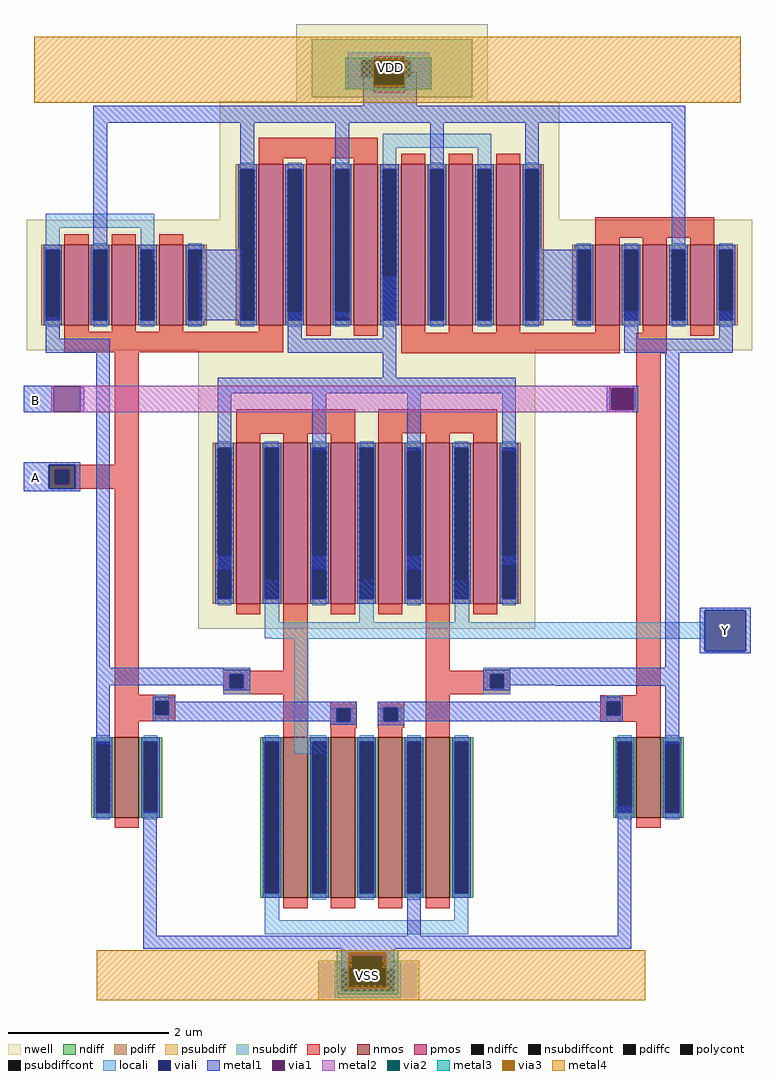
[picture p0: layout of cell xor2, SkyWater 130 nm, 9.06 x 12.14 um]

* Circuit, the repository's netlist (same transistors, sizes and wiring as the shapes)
** sch_path: /home/ume/Desktop/designFinal/xschem/xor2.sch
.subckt xor2 Y A VDD VSS B
*.PININFO Y:O A:I VDD:B VSS:B B:I
XM7 net1 A VDD VDD sky130_fd_pr__pfet_01v8 L=0.30 W=6 nf=6 ad='int((nf+1)/2) * W/nf * 0.29' as='int((nf+2)/2) * W/nf * 0.29'
+ pd='2*int((nf+1)/2) * (W/nf + 0.29)' ps='2*int((nf+2)/2) * (W/nf + 0.29)' nrd='0.29 / W' nrs='0.29 / W'
+ sa=0 sb=0 sd=0 mult=1 m=1
XM8 net1 B VDD VDD sky130_fd_pr__pfet_01v8 L=0.30 W=6 nf=6 ad='int((nf+1)/2) * W/nf * 0.29' as='int((nf+2)/2) * W/nf * 0.29'
+ pd='2*int((nf+1)/2) * (W/nf + 0.29)' ps='2*int((nf+2)/2) * (W/nf + 0.29)' nrd='0.29 / W' nrs='0.29 / W'
+ sa=0 sb=0 sd=0 mult=1 m=1
XM6 Y inv_B net1 VDD sky130_fd_pr__pfet_01v8 L=0.30 W=6 nf=6 ad='int((nf+1)/2) * W/nf * 0.29' as='int((nf+2)/2) * W/nf * 0.29'
+ pd='2*int((nf+1)/2) * (W/nf + 0.29)' ps='2*int((nf+2)/2) * (W/nf + 0.29)' nrd='0.29 / W' nrs='0.29 / W'
+ sa=0 sb=0 sd=0 mult=1 m=1
XM5 Y inv_A net1 VDD sky130_fd_pr__pfet_01v8 L=0.30 W=6 nf=6 ad='int((nf+1)/2) * W/nf * 0.29' as='int((nf+2)/2) * W/nf * 0.29'
+ pd='2*int((nf+1)/2) * (W/nf + 0.29)' ps='2*int((nf+2)/2) * (W/nf + 0.29)' nrd='0.29 / W' nrs='0.29 / W'
+ sa=0 sb=0 sd=0 mult=1 m=1
XM1 Y A net2 VSS sky130_fd_pr__nfet_01v8 L=0.30 W=2 nf=2 ad='int((nf+1)/2) * W/nf * 0.29' as='int((nf+2)/2) * W/nf * 0.29'
+ pd='2*int((nf+1)/2) * (W/nf + 0.29)' ps='2*int((nf+2)/2) * (W/nf + 0.29)' nrd='0.29 / W' nrs='0.29 / W'
+ sa=0 sb=0 sd=0 mult=1 m=1
XM3 net2 B VSS VSS sky130_fd_pr__nfet_01v8 L=0.30 W=2 nf=2 ad='int((nf+1)/2) * W/nf * 0.29' as='int((nf+2)/2) * W/nf * 0.29'
+ pd='2*int((nf+1)/2) * (W/nf + 0.29)' ps='2*int((nf+2)/2) * (W/nf + 0.29)' nrd='0.29 / W' nrs='0.29 / W'
+ sa=0 sb=0 sd=0 mult=1 m=1
XM2 Y inv_A net3 VSS sky130_fd_pr__nfet_01v8 L=0.30 W=2 nf=2 ad='int((nf+1)/2) * W/nf * 0.29' as='int((nf+2)/2) * W/nf * 0.29'
+ pd='2*int((nf+1)/2) * (W/nf + 0.29)' ps='2*int((nf+2)/2) * (W/nf + 0.29)' nrd='0.29 / W' nrs='0.29 / W'
+ sa=0 sb=0 sd=0 mult=1 m=1
XM4 net3 inv_B VSS VSS sky130_fd_pr__nfet_01v8 L=0.30 W=2 nf=2 ad='int((nf+1)/2) * W/nf * 0.29' as='int((nf+2)/2) * W/nf * 0.29'
+ pd='2*int((nf+1)/2) * (W/nf + 0.29)' ps='2*int((nf+2)/2) * (W/nf + 0.29)' nrd='0.29 / W' nrs='0.29 / W'
+ sa=0 sb=0 sd=0 mult=1 m=1
XM12 inv_B B VDD VDD sky130_fd_pr__pfet_01v8 L=0.30 W=3 nf=3 ad='int((nf+1)/2) * W/nf * 0.29' as='int((nf+2)/2) * W/nf * 0.29'
+ pd='2*int((nf+1)/2) * (W/nf + 0.29)' ps='2*int((nf+2)/2) * (W/nf + 0.29)' nrd='0.29 / W' nrs='0.29 / W'
+ sa=0 sb=0 sd=0 mult=1 m=1
XM11 inv_B B VSS VSS sky130_fd_pr__nfet_01v8 L=0.30 W=1 nf=1 ad='int((nf+1)/2) * W/nf * 0.29' as='int((nf+2)/2) * W/nf * 0.29'
+ pd='2*int((nf+1)/2) * (W/nf + 0.29)' ps='2*int((nf+2)/2) * (W/nf + 0.29)' nrd='0.29 / W' nrs='0.29 / W'
+ sa=0 sb=0 sd=0 mult=1 m=1
XM10 inv_A A VDD VDD sky130_fd_pr__pfet_01v8 L=0.30 W=3 nf=3 ad='int((nf+1)/2) * W/nf * 0.29' as='int((nf+2)/2) * W/nf * 0.29'
+ pd='2*int((nf+1)/2) * (W/nf + 0.29)' ps='2*int((nf+2)/2) * (W/nf + 0.29)' nrd='0.29 / W' nrs='0.29 / W'
+ sa=0 sb=0 sd=0 mult=1 m=1
XM9 inv_A A VSS VSS sky130_fd_pr__nfet_01v8 L=0.30 W=1 nf=1 ad='int((nf+1)/2) * W/nf * 0.29' as='int((nf+2)/2) * W/nf * 0.29'
+ pd='2*int((nf+1)/2) * (W/nf + 0.29)' ps='2*int((nf+2)/2) * (W/nf + 0.29)' nrd='0.29 / W' nrs='0.29 / W'
+ sa=0 sb=0 sd=0 mult=1 m=1
.ends
.end

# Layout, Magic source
magic
tech sky130B
magscale 1 2
<< nwell >>
rect 546 772 1022 964
rect 356 476 1200 772
rect -31 181 265 198
rect -77 153 265 181
rect 807 173 1096 196
rect 302 -60 1140 173
<< psubdiff >>
rect 600 -1386 852 -1366
rect 600 -1442 658 -1386
rect 790 -1442 852 -1386
rect 600 -1464 852 -1442
<< nsubdiff >>
rect 584 874 984 926
rect 584 830 708 874
rect 830 830 984 874
rect 584 782 984 830
<< psubdiffcont >>
rect 658 -1442 790 -1386
<< nsubdiffcont >>
rect 708 830 830 874
<< poly >>
rect 453 630 749 681
rect 1290 432 1586 483
rect -31 147 513 198
rect 1408 196 1467 214
rect 94 -132 154 147
rect 807 145 1350 196
rect 1392 145 1467 196
rect 1392 58 1452 145
rect 1324 48 1452 58
rect 1324 14 1340 48
rect 1374 14 1452 48
rect 396 -55 692 5
rect 750 -54 1046 6
rect 1324 4 1452 14
rect 750 -55 810 -54
rect 868 -55 928 -54
rect 986 -55 1046 -54
rect -70 -146 154 -132
rect -70 -180 -54 -146
rect -20 -180 154 -146
rect -70 -192 154 -180
rect 94 -705 154 -192
rect 364 -645 431 -638
rect 514 -645 574 -497
rect 364 -654 574 -645
rect 364 -688 380 -654
rect 414 -688 574 -654
rect 364 -704 574 -688
rect 94 -721 245 -705
rect 94 -755 195 -721
rect 229 -755 245 -721
rect 94 -771 245 -755
rect 94 -800 154 -771
rect 514 -801 574 -704
rect 868 -645 928 -497
rect 1011 -645 1078 -638
rect 868 -654 1078 -645
rect 868 -688 1028 -654
rect 1062 -688 1078 -654
rect 868 -704 1078 -688
rect 630 -738 696 -722
rect 630 -772 646 -738
rect 680 -772 696 -738
rect 630 -788 696 -772
rect 748 -737 814 -722
rect 748 -771 764 -737
rect 798 -771 814 -737
rect 748 -787 814 -771
rect 632 -800 692 -788
rect 750 -799 810 -787
rect 868 -801 928 -704
rect 1392 -706 1452 4
rect 1302 -722 1452 -706
rect 1302 -756 1318 -722
rect 1352 -756 1452 -722
rect 1302 -772 1452 -756
rect 1392 -800 1452 -772
<< polycont >>
rect 1340 14 1374 48
rect -54 -180 -20 -146
rect 380 -688 414 -654
rect 195 -755 229 -721
rect 1028 -688 1062 -654
rect 646 -772 680 -738
rect 764 -771 798 -737
rect 1318 -756 1352 -722
<< locali >>
rect 674 874 876 894
rect 674 830 708 874
rect 830 830 876 874
rect 674 820 760 830
rect 798 820 876 830
rect 674 802 876 820
rect 761 656 1031 691
rect 761 613 795 656
rect 997 613 1031 656
rect -77 457 193 492
rect -77 415 -43 457
rect 159 415 193 457
rect 1324 14 1330 48
rect 1384 14 1390 48
rect 467 -524 503 -419
rect 702 -524 738 -419
rect 940 -524 976 -420
rect 467 -564 1562 -524
rect 486 -565 1562 -564
rect 364 -654 431 -638
rect 364 -688 380 -654
rect 414 -688 431 -654
rect 364 -704 431 -688
rect 195 -721 229 -705
rect 195 -771 229 -755
rect 541 -806 575 -565
rect 1011 -654 1078 -638
rect 1011 -688 1028 -654
rect 1062 -688 1078 -654
rect 1011 -704 1078 -688
rect 1318 -722 1352 -706
rect 630 -772 646 -738
rect 680 -772 696 -738
rect 748 -771 764 -737
rect 798 -771 814 -737
rect 1318 -772 1352 -756
rect 541 -809 613 -806
rect 541 -852 620 -809
rect 468 -1265 503 -1198
rect 939 -1265 974 -1198
rect 468 -1300 974 -1265
rect 642 -1386 698 -1370
rect 748 -1386 806 -1370
rect 642 -1442 658 -1386
rect 790 -1442 806 -1386
rect 642 -1458 806 -1442
<< viali >>
rect 760 830 798 858
rect 760 820 798 830
rect 1330 48 1384 58
rect 1330 14 1340 48
rect 1340 14 1374 48
rect 1374 14 1384 48
rect 1330 4 1384 14
rect -70 -146 -4 -132
rect -70 -180 -54 -146
rect -54 -180 -20 -146
rect -20 -180 -4 -146
rect -70 -192 -4 -180
rect 380 -688 414 -654
rect 195 -755 229 -721
rect 1562 -596 1664 -494
rect 1028 -688 1062 -654
rect 646 -772 680 -738
rect 764 -771 798 -737
rect 1318 -756 1352 -722
rect 698 -1386 748 -1364
rect 698 -1406 748 -1386
<< metal1 >>
rect 740 844 750 866
rect 712 812 750 844
rect 804 844 814 866
rect 804 812 846 844
rect 712 761 846 812
rect 41 718 1514 761
rect 41 415 75 718
rect 407 613 441 718
rect 643 613 677 718
rect 879 613 913 718
rect 1115 613 1149 718
rect 1480 415 1514 718
rect 186 378 193 403
rect 311 378 410 403
rect -77 181 -43 235
rect 304 227 410 378
rect 761 247 795 337
rect 525 235 565 247
rect 637 235 683 247
rect 755 235 795 247
rect 525 181 559 235
rect 761 181 795 235
rect 1143 227 1247 403
rect -77 146 82 181
rect 525 146 795 181
rect 1362 181 1396 249
rect 1598 181 1632 249
rect 1362 146 1632 181
rect -132 -2 -58 64
rect 8 -2 18 64
rect -132 -132 8 -126
rect -132 -192 -70 -132
rect -4 -192 8 -132
rect -132 -198 8 -192
rect 48 -638 82 146
rect 761 84 795 146
rect 350 46 1092 84
rect 350 -92 384 46
rect 586 -96 620 46
rect 822 -98 856 46
rect 1058 -98 1092 46
rect 1318 58 1396 64
rect 1318 4 1330 58
rect 1384 4 1396 58
rect 1318 -2 1396 4
rect 350 -393 385 -359
rect 585 -393 620 -359
rect 822 -393 857 -359
rect 1058 -381 1092 -359
rect 1464 -637 1498 146
rect 1550 -494 1676 -488
rect 1550 -596 1562 -494
rect 1664 -596 1676 -494
rect 1550 -602 1676 -596
rect 1191 -638 1498 -637
rect 48 -643 364 -638
rect 1078 -643 1498 -638
rect 48 -654 431 -643
rect 48 -681 380 -654
rect 48 -828 82 -681
rect 364 -688 380 -681
rect 414 -688 431 -654
rect 364 -694 431 -688
rect 1011 -654 1498 -643
rect 1011 -688 1028 -654
rect 1062 -681 1498 -654
rect 1062 -688 1078 -681
rect 1191 -682 1498 -681
rect 1011 -694 1078 -688
rect 189 -721 245 -709
rect 189 -755 195 -721
rect 229 -722 245 -721
rect 1302 -722 1358 -710
rect 229 -738 696 -722
rect 229 -755 646 -738
rect 189 -771 646 -755
rect 630 -772 646 -771
rect 680 -772 696 -738
rect 630 -779 696 -772
rect 748 -737 1318 -722
rect 748 -771 764 -737
rect 798 -756 1318 -737
rect 1352 -756 1358 -722
rect 798 -771 1358 -756
rect 748 -781 815 -771
rect 1302 -772 1358 -771
rect 1464 -828 1498 -682
rect 165 -1304 199 -995
rect 822 -1304 856 -1198
rect 1346 -1304 1379 -982
rect 165 -1336 1379 -1304
rect 658 -1358 790 -1336
rect 658 -1416 692 -1358
rect 754 -1416 790 -1358
rect 658 -1421 790 -1416
<< via1 >>
rect 750 858 804 866
rect 750 820 760 858
rect 760 820 798 858
rect 798 820 804 858
rect 750 812 804 820
rect -58 -2 8 64
rect 1330 4 1384 58
rect 692 -1364 754 -1358
rect 692 -1406 698 -1364
rect 698 -1406 748 -1364
rect 748 -1406 754 -1364
rect 692 -1416 754 -1406
<< metal2 >>
rect 738 874 816 884
rect 738 794 816 804
rect -64 -2 -58 64
rect 8 58 1384 64
rect 8 4 1330 58
rect 8 -2 1384 4
rect 686 -1356 758 -1346
rect 686 -1436 758 -1426
<< via2 >>
rect 738 866 816 874
rect 738 812 750 866
rect 750 812 804 866
rect 804 812 816 866
rect 738 804 816 812
rect 686 -1358 758 -1356
rect 686 -1416 692 -1358
rect 692 -1416 754 -1358
rect 754 -1416 758 -1358
rect 686 -1426 758 -1416
<< metal3 >>
rect 668 876 882 880
rect 668 804 738 876
rect 814 874 882 876
rect 816 804 882 874
rect 668 802 882 804
rect 728 799 826 802
rect 648 -1342 800 -1340
rect 646 -1346 800 -1342
rect 646 -1434 676 -1346
rect 770 -1434 800 -1346
rect 646 -1440 800 -1434
rect 648 -1450 800 -1440
<< via3 >>
rect 738 874 814 876
rect 738 810 814 874
rect 676 -1356 770 -1346
rect 676 -1426 686 -1356
rect 686 -1426 758 -1356
rect 758 -1426 770 -1356
rect 676 -1434 770 -1426
<< metal4 >>
rect -106 876 1652 932
rect -106 810 738 876
rect 814 810 1652 876
rect -106 768 1652 810
rect 50 -1346 1414 -1340
rect 50 -1434 676 -1346
rect 770 -1434 1414 -1346
rect 50 -1464 1414 -1434
use sky130_fd_pr__nfet_01v8_ALVBQN  sky130_fd_pr__nfet_01v8_ALVBQN_0
transform 1 0 721 0 1 -1010
box -265 -226 265 226
use sky130_fd_pr__nfet_01v8_ZGVMSF  sky130_fd_pr__nfet_01v8_ZGVMSF_0
transform 1 0 1422 0 1 -910
box -88 -126 88 126
use sky130_fd_pr__nfet_01v8_ZGVMSF  sky130_fd_pr__nfet_01v8_ZGVMSF_1
transform 1 0 124 0 1 -910
box -88 -126 88 126
use sky130_fd_pr__pfet_01v8_6C4S85  sky130_fd_pr__pfet_01v8_6C4S85_0
transform 1 0 721 0 1 -278
box -419 -262 419 262
use sky130_fd_pr__pfet_01v8_6C4S85  sky130_fd_pr__pfet_01v8_6C4S85_1
transform 1 0 778 0 1 415
box -419 -262 419 262
use sky130_fd_pr__pfet_01v8_A6QCZ3  sky130_fd_pr__pfet_01v8_A6QCZ3_0
transform 1 0 1438 0 1 315
box -242 -162 242 162
use sky130_fd_pr__pfet_01v8_A6QCZ3  sky130_fd_pr__pfet_01v8_A6QCZ3_1
transform 1 0 117 0 1 315
box -242 -162 242 162
<< labels >>
flabel metal4 672 -1440 772 -1366 1 FreeSerif 640 0 0 0 VSS
port 11 n
flabel metal4 700 798 860 916 1 FreeSerif 640 0 0 0 VDD
port 14 n
flabel metal1 1554 -600 1674 -492 1 FreeSerif 400 0 0 0 Y
port 15 n
flabel metal1 -132 -198 -72 -132 1 FreeSerif 480 0 0 0 A
port 16 n
flabel metal1 -132 -2 -72 56 1 FreeSerif 480 0 0 0 B
port 17 n
<< end >>

# cell sky130_fd_pr__nfet_01v8_ALVBQN: kit device sky130_fd_pr__nfet_01v8, w 2 l 0.3 m 1 nf 4 diffcov 100 polycov 100 guard 0 glc 1 grc 1 gtc 1 gbc 1 tbcov 100 rlcov 100 topc 0 botc 0 poverlap 0 doverlap 1 lmin 0.15 wmin 0.42 compatible {sky130_fd_pr__nfet_01v8 sky130_fd_pr__nfet_01v8_lvt sky130_fd_bs_flash__special_sonosfet_star sky130_fd_pr__nfet_g5v0d10v5 sky130_fd_pr__nfet_05v0_nvt sky130_fd_pr__nfet_03v3_nvt} full_metal 1 viasrc 100 viadrn 100 viagate 100 viagb 0 viagr 0 viagl 0 viagt 0

# cell sky130_fd_pr__nfet_01v8_ZGVMSF: kit device sky130_fd_pr__nfet_01v8, w 1 l 0.3 m 1 nf 1 diffcov 100 polycov 100 guard 0 glc 1 grc 1 gtc 1 gbc 1 tbcov 100 rlcov 100 topc 0 botc 0 poverlap 0 doverlap 1 lmin 0.15 wmin 0.42 compatible {sky130_fd_pr__nfet_01v8 sky130_fd_pr__nfet_01v8_lvt sky130_fd_bs_flash__special_sonosfet_star sky130_fd_pr__nfet_g5v0d10v5 sky130_fd_pr__nfet_05v0_nvt sky130_fd_pr__nfet_03v3_nvt} full_metal 1 viasrc 100 viadrn 100 viagate 100 viagb 0 viagr 0 viagl 0 viagt 0

# cell sky130_fd_pr__pfet_01v8_6C4S85: kit device sky130_fd_pr__pfet_01v8, w 2 l 0.3 m 1 nf 6 diffcov 100 polycov 100 guard 0 glc 1 grc 1 gtc 1 gbc 1 tbcov 100 rlcov 100 topc 0 botc 0 poverlap 0 doverlap 1 lmin 0.15 wmin 0.42 compatible {sky130_fd_pr__pfet_01v8 sky130_fd_pr__pfet_01v8_lvt sky130_fd_pr__pfet_01v8_hvt sky130_fd_pr__pfet_g5v0d10v5} full_metal 1 viasrc 100 viadrn 100 viagate 100 viagb 0 viagr 0 viagl 0 viagt 0

# cell sky130_fd_pr__pfet_01v8_A6QCZ3: kit device sky130_fd_pr__pfet_01v8, w 1 l 0.3 m 1 nf 3 diffcov 100 polycov 100 guard 0 glc 1 grc 1 gtc 1 gbc 1 tbcov 100 rlcov 100 topc 0 botc 0 poverlap 0 doverlap 1 lmin 0.15 wmin 0.42 compatible {sky130_fd_pr__pfet_01v8 sky130_fd_pr__pfet_01v8_lvt sky130_fd_pr__pfet_01v8_hvt sky130_fd_pr__pfet_g5v0d10v5} full_metal 1 viasrc 100 viadrn 100 viagate 100 viagb 0 viagr 0 viagl 0 viagt 0
